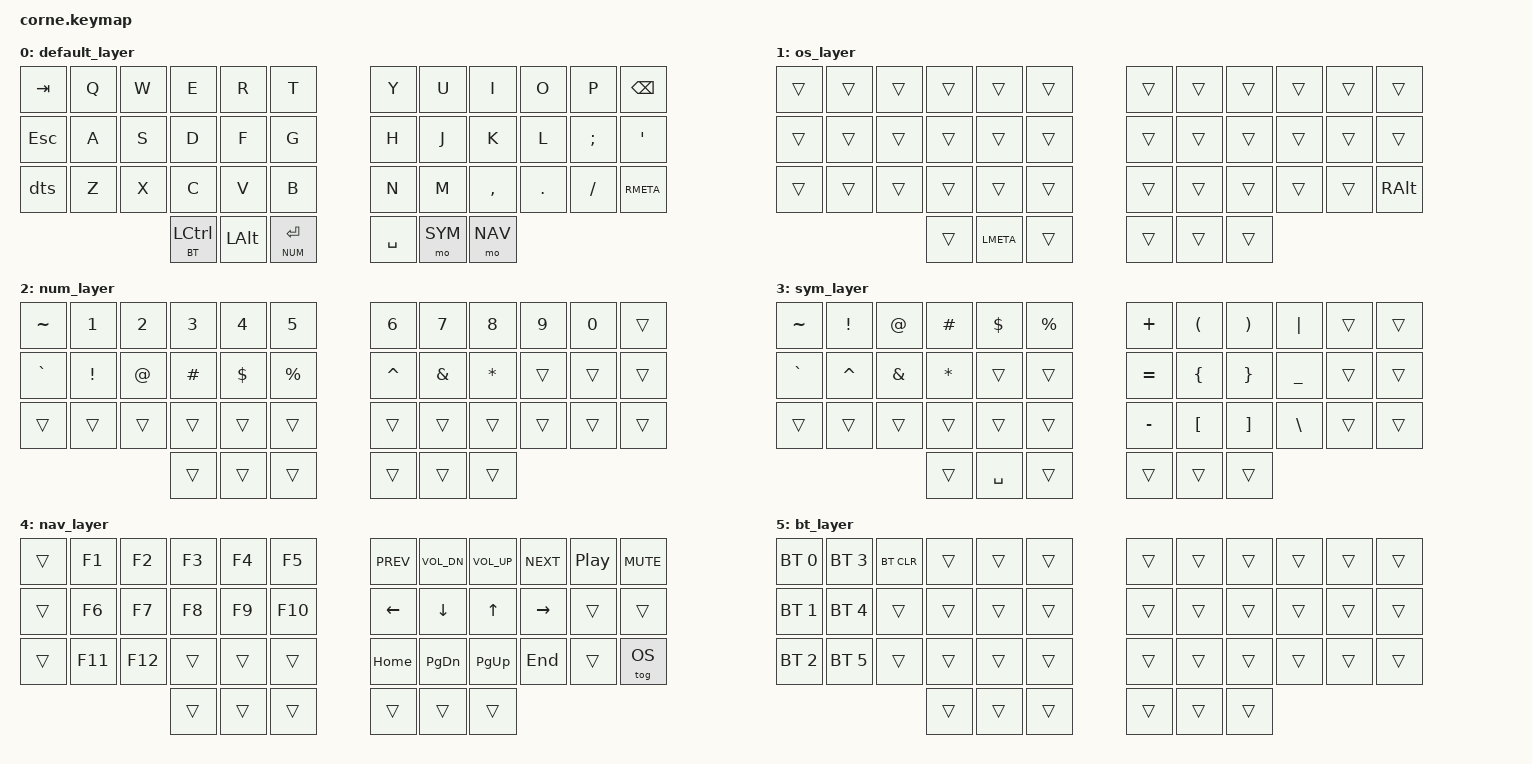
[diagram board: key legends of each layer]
/*
 * Copyright (c) 2020 The ZMK Contributors
 *
 * SPDX-License-Identifier: MIT
 */

#include <behaviors.dtsi>
#include <dt-bindings/zmk/keys.h>
#include <dt-bindings/zmk/bt.h>

#define DEFAULT 0
#define OS 1
#define NUM 2
#define SYM 3
#define NAV 4
#define BT 5

/ {
     behaviors {
          blt: balanced_layer_tap {
               compatible = "zmk,behavior-hold-tap";
               label = "BALANCED_LAYER_TAP";
               #binding-cells = <2>;
               tapping-term-ms = <150>;
               quick-tap-ms = <300>;
               flavor = "balanced";
               bindings = <&mo>, <&kp>;
          };

          dts: double_tap_shift {
               compatible = "zmk,behavior-tap-dance";
               label = "DOUBLE_TAP_SHIFT";
               #binding-cells = <0>;
               tapping-term-ms = <200>;
               bindings = <&kp LSHFT>, <&caps_word>;
          };
     };

     keymap {
          compatible = "zmk,keymap";

          default_layer {
               bindings = <
               // ╭───────────────┬───────────────┬───────────────┬───────────────┬───────────────┬───────────────╮   ╭───────────────┬───────────────┬───────────────┬───────────────┬───────────────┬───────────────╮
                   &kp TAB         &kp Q           &kp W           &kp E           &kp R           &kp T               &kp Y           &kp U           &kp I           &kp O           &kp P           &kp BSPC
               // ├───────────────├───────────────┼───────────────┼───────────────┼───────────────┼───────────────┤   ├───────────────├───────────────┼───────────────┼───────────────┼───────────────┼───────────────┤
                   &kp ESC         &kp A           &kp S           &kp D           &kp F           &kp G               &kp H           &kp J           &kp K           &kp L           &kp SEMI        &kp SQT
               // ├───────────────├───────────────┼───────────────┼───────────────┼───────────────┼───────────────┤   ├───────────────├───────────────┼───────────────┼───────────────┼───────────────┼───────────────┤
                   &dts            &kp Z           &kp X           &kp C           &kp V           &kp B               &kp N           &kp M           &kp COMMA       &kp DOT         &kp FSLH        &kp RMETA
               // ╰───────────────┴───────────────┴───────────────┼───────────────┼───────────────┼───────────────┤   ├───────────────├───────────────┼───────────────┼───────────────┴───────────────┴───────────────╯
                                                                   &blt BT LCTRL   &kp LALT        &blt NUM RET        &kp SPACE       &mo SYM         &mo NAV 
               //                                                 ╰───────────────┴───────────────┴───────────────╯   ╰───────────────┴───────────────┴───────────────╯
               >;
          };

          os_layer {
               bindings = <
               // ╭───────────────┬───────────────┬───────────────┬───────────────┬───────────────┬───────────────╮   ╭───────────────┬───────────────┬───────────────┬───────────────┬───────────────┬───────────────╮
                   &trans          &trans          &trans          &trans          &trans          &trans              &trans          &trans          &trans          &trans          &trans          &trans          
               // ├───────────────├───────────────┼───────────────┼───────────────┼───────────────┼───────────────┤   ├───────────────├───────────────┼───────────────┼───────────────┼───────────────┼───────────────┤
                   &trans          &trans          &trans          &trans          &trans          &trans              &trans          &trans          &trans          &trans          &trans          &trans      
               // ├───────────────├───────────────┼───────────────┼───────────────┼───────────────┼───────────────┤   ├───────────────├───────────────┼───────────────┼───────────────┼───────────────┼───────────────┤
                   &trans          &trans          &trans          &trans          &trans          &trans              &trans          &trans          &trans          &trans          &trans          &kp RALT
               // ╰───────────────┴───────────────┴───────────────┼───────────────┼───────────────┼───────────────┤   ├───────────────├───────────────┼───────────────┼───────────────┴───────────────┴───────────────╯
                                                                   &trans          &kp LMETA       &trans              &trans          &trans          &trans
               //                                                 ╰───────────────┴───────────────┴───────────────╯   ╰───────────────┴───────────────┴───────────────╯
               >;
          };

          num_layer {
               bindings = <
               //  ╭───────────────┬───────────────┬───────────────┬───────────────┬───────────────┬───────────────╮   ╭───────────────┬───────────────┬───────────────┬───────────────┬───────────────┬───────────────╮
                    &kp TILDE       &kp N1          &kp N2          &kp N3          &kp N4          &kp N5              &kp N6          &kp N7          &kp N8          &kp N9          &kp N0          &trans
               //  ├───────────────├───────────────┼───────────────┼───────────────┼───────────────┼───────────────┤   ├───────────────├───────────────┼───────────────┼───────────────┼───────────────┼───────────────┤
                    &kp GRAVE       &kp EXCL        &kp AT          &kp HASH        &kp DLLR        &kp PRCNT           &kp CARET       &kp AMPS        &kp STAR        &trans          &trans          &trans
               //  ├───────────────├───────────────┼───────────────┼───────────────┼───────────────┼───────────────┤   ├───────────────├───────────────┼───────────────┼───────────────┼───────────────┼───────────────┤
                    &trans          &trans          &trans          &trans          &trans          &trans              &trans          &trans          &trans          &trans          &trans          &trans
               //  ╰───────────────┴───────────────┴───────────────┼───────────────┼───────────────┼───────────────┤   ├───────────────├───────────────┼───────────────┼───────────────┴───────────────┴───────────────╯
                                                                    &trans          &trans          &trans              &trans          &trans          &trans
               //                                                  ╰───────────────┴───────────────┴───────────────╯   ╰───────────────┴───────────────┴───────────────╯
               >;
          };

          sym_layer {
               bindings = <
               //  ╭───────────────┬───────────────┬───────────────┬───────────────┬───────────────┬───────────────╮   ╭───────────────┬───────────────┬───────────────┬───────────────┬───────────────┬───────────────╮
                    &kp TILDE       &kp EXCL        &kp AT          &kp HASH        &kp DLLR        &kp PRCNT           &kp PLUS        &kp LPAR        &kp RPAR        &kp PIPE        &trans          &trans
               //  ├───────────────├───────────────┼───────────────┼───────────────┼───────────────┼───────────────┤   ├───────────────├───────────────┼───────────────┼───────────────┼───────────────┼───────────────┤
                    &kp GRAVE       &kp CARET       &kp AMPS        &kp STAR        &trans          &trans              &kp EQUAL       &kp LBRC        &kp RBRC        &kp UNDER       &trans          &trans 
               //  ├───────────────├───────────────┼───────────────┼───────────────┼───────────────┼───────────────┤   ├───────────────├───────────────┼───────────────┼───────────────┼───────────────┼───────────────┤
                    &trans          &trans          &trans          &trans          &trans          &trans              &kp MINUS       &kp LBKT        &kp RBKT        &kp BSLH        &trans          &trans
               //  ╰───────────────┴───────────────┴───────────────┼───────────────┼───────────────┼───────────────┤   ├───────────────├───────────────┼───────────────┼───────────────┴───────────────┴───────────────╯
                                                                    &trans          &kp SPACE       &trans              &trans          &trans          &trans
               //                                                  ╰───────────────┴───────────────┴───────────────╯   ╰───────────────┴───────────────┴───────────────╯
               >;
          };

          nav_layer {
               bindings = <
               //  ╭───────────────┬───────────────┬───────────────┬───────────────┬───────────────┬───────────────╮   ╭───────────────┬───────────────┬───────────────┬───────────────┬───────────────┬───────────────╮
                    &trans          &kp F1          &kp F2          &kp F3          &kp F4          &kp F5              &kp C_PREV      &kp C_VOL_DN    &kp C_VOL_UP    &kp C_NEXT      &kp C_PP        &kp C_MUTE
               //  ├───────────────├───────────────┼───────────────┼───────────────┼───────────────┼───────────────┤   ├───────────────├───────────────┼───────────────┼───────────────┼───────────────┼───────────────┤
                    &trans          &kp F6          &kp F7          &kp F8          &kp F9          &kp F10             &kp LEFT        &kp DOWN        &kp UP          &kp RIGHT       &trans          &trans
               //  ├───────────────├───────────────┼───────────────┼───────────────┼───────────────┼───────────────┤   ├───────────────├───────────────┼───────────────┼───────────────┼───────────────┼───────────────┤
                    &trans          &kp F11         &kp F12         &trans          &trans          &trans              &kp HOME        &kp PG_DN       &kp PG_UP       &kp END         &trans          &tog OS
               //  ╰───────────────┴───────────────┴───────────────┼───────────────┼───────────────┼───────────────┤   ├───────────────├───────────────┼───────────────┼───────────────┴───────────────┴───────────────╯
                                                                    &trans          &trans          &trans              &trans          &trans          &trans
               //                                                  ╰───────────────┴───────────────┴───────────────╯   ╰───────────────┴───────────────┴───────────────╯
               >;
          };

          bt_layer {
               bindings = <
               //  ╭───────────────┬───────────────┬───────────────┬───────────────┬───────────────┬───────────────╮   ╭───────────────┬───────────────┬───────────────┬───────────────┬───────────────┬───────────────╮
                    &bt BT_SEL 0    &bt BT_SEL 3    &bt BT_CLR      &trans          &trans          &trans              &trans          &trans          &trans          &trans          &trans          &trans
               //  ├───────────────├───────────────┼───────────────┼───────────────┼───────────────┼───────────────┤   ├───────────────├───────────────┼───────────────┼───────────────┼───────────────┼───────────────┤
                    &bt BT_SEL 1    &bt BT_SEL 4    &trans          &trans          &trans          &trans              &trans          &trans          &trans          &trans          &trans          &trans
               //  ├───────────────├───────────────┼───────────────┼───────────────┼───────────────┼───────────────┤   ├───────────────├───────────────┼───────────────┼───────────────┼───────────────┼───────────────┤
                    &bt BT_SEL 2    &bt BT_SEL 5    &trans          &trans          &trans          &trans              &trans          &trans          &trans          &trans          &trans          &trans
               //  ╰───────────────┴───────────────┴───────────────┼───────────────┼───────────────┼───────────────┤   ├───────────────├───────────────┼───────────────┼───────────────┴───────────────┴───────────────╯
                                                                    &trans          &trans          &trans              &trans          &trans          &trans
               //                                                  ╰───────────────┴───────────────┴───────────────╯   ╰───────────────┴───────────────┴───────────────╯
               >;
          };
     };
};
